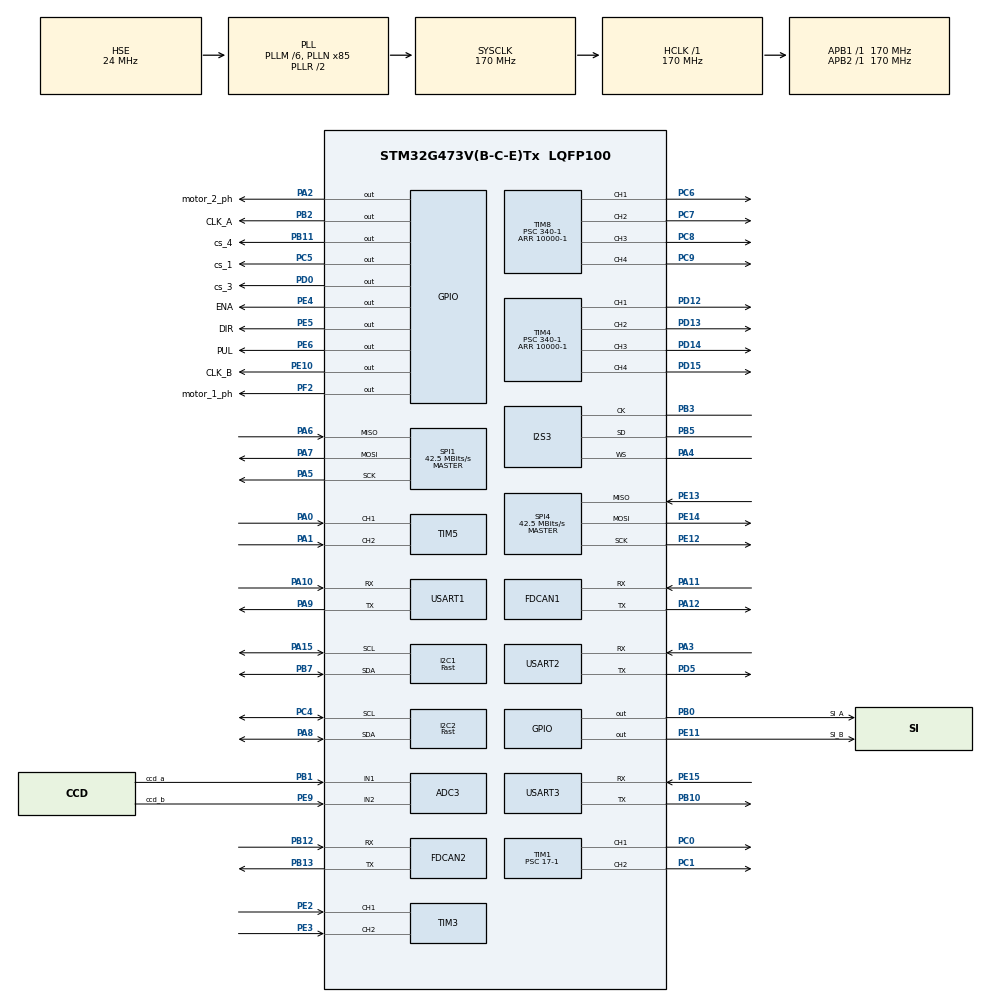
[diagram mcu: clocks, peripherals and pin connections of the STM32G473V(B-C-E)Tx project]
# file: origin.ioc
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ADC3.Channel-1\#ChannelRegularConversion=ADC_CHANNEL_1
ADC3.NbrOfConversionFlag=1
ADC3.OffsetNumber-1\#ChannelRegularConversion=ADC_OFFSET_NONE
ADC3.Rank-1\#ChannelRegularConversion=1
ADC3.SamplingTime-1\#ChannelRegularConversion=ADC_SAMPLETIME_2CYCLES_5
ADC3.master=1
Dma.ADC3.0.Direction=DMA_PERIPH_TO_MEMORY
Dma.ADC3.0.EventEnable=DISABLE
Dma.ADC3.0.Instance=DMA1_Channel1
Dma.ADC3.0.MemDataAlignment=DMA_MDATAALIGN_HALFWORD
Dma.ADC3.0.MemInc=DMA_MINC_ENABLE
Dma.ADC3.0.Mode=DMA_NORMAL
Dma.ADC3.0.PeriphDataAlignment=DMA_PDATAALIGN_HALFWORD
Dma.ADC3.0.PeriphInc=DMA_PINC_DISABLE
Dma.ADC3.0.Polarity=HAL_DMAMUX_REQ_GEN_RISING
Dma.ADC3.0.Priority=DMA_PRIORITY_LOW
Dma.ADC3.0.RequestNumber=1
Dma.ADC3.0.SignalID=NONE
Dma.ADC3.0.SyncEnable=DISABLE
Dma.ADC3.0.SyncPolarity=HAL_DMAMUX_SYNC_NO_EVENT
Dma.ADC3.0.SyncRequestNumber=1
Dma.ADC3.0.SyncSignalID=NONE
Dma.Request0=ADC3
FDCAN1.CalculateBaudRateNominal=3541666
FDCAN1.CalculateTimeBitNominal=282
FDCAN1.CalculateTimeQuantumNominal=94.11764705882354
FDCAN2.CalculateBaudRateNominal=3541666
FDCAN2.CalculateTimeBitNominal=282
FDCAN2.CalculateTimeQuantumNominal=94.11764705882354
I2C1.I2C_Speed_Mode=I2C_Fast
I2C1.Timing=0x40621236
I2C2.I2C_Speed_Mode=I2C_Fast
I2C2.Timing=0x40621236
I2S3.AudioFreq=I2S_AUDIOFREQ_16K
I2S3.ErrorAudioFreq=0.0 %
I2S3.FullDuplexMode=I2S_FULLDUPLEXMODE_DISABLE
I2S3.Instance=SPI$Index
I2S3.RealAudioFreq=16.001 KHz
I2S3.VirtualMode=I2S_MODE_MASTER
Mcu.Family=STM32G4
Mcu.Name=STM32G473V(B-C-E)Tx
Mcu.Package=LQFP100
NVIC.DMA1_Channel1_IRQn=true\:0\:0\:false\:false\:true\:false\:true\:true
NVIC.PriorityGroup=NVIC_PRIORITYGROUP_4
NVIC.TIM2_IRQn=true\:0\:0\:false\:false\:true\:true\:true\:true
NVIC.TIM6_DAC_IRQn=true\:0\:0\:false\:false\:true\:true\:true\:true
PA0.Signal=S_TIM5_CH1
PA1.Signal=S_TIM5_CH2
PA10.Mode=Asynchronous
PA10.Signal=USART1_RX
PA11.Mode=FDCAN_Activate
PA11.Signal=FDCAN1_RX
PA12.Mode=FDCAN_Activate
PA12.Signal=FDCAN1_TX
PA13.Mode=Serial_Wire
PA13.Signal=SYS_JTMS-SWDIO
PA14.Mode=Serial_Wire
PA14.Signal=SYS_JTCK-SWCLK
PA15.Mode=I2C
PA15.Signal=I2C1_SCL
PA2.GPIO_Label=motor_2_ph
PA2.Signal=GPIO_Output
PA3.Mode=Asynchronous
PA3.Signal=USART2_RX
PA4.Mode=Half_Duplex_Master
PA4.Signal=I2S3_WS
PA5.Mode=Full_Duplex_Master
PA5.Signal=SPI1_SCK
PA6.Mode=Full_Duplex_Master
PA6.Signal=SPI1_MISO
PA7.Mode=Full_Duplex_Master
PA7.Signal=SPI1_MOSI
PA8.Mode=I2C
PA8.Signal=I2C2_SDA
PA9.Mode=Asynchronous
PA9.Signal=USART1_TX
PB0.GPIO_Label=SI_A
PB0.GPIO_Speed=GPIO_SPEED_FREQ_VERY_HIGH
PB0.Signal=GPIO_Output
PB1.GPIO_Label=ccd_a
PB1.Mode=IN1-Single-Ended
PB1.Signal=ADC3_IN1
PB10.Mode=Asynchronous
PB10.Signal=USART3_TX
PB11.GPIO_Label=cs_4
PB11.Signal=GPIO_Output
PB12.Mode=FDCAN_Activate
PB12.Signal=FDCAN2_RX
PB13.Mode=FDCAN_Activate
PB13.Signal=FDCAN2_TX
PB2.GPIO_Label=CLK_A
PB2.Signal=GPIO_Output
PB3.Mode=Half_Duplex_Master
PB3.Signal=I2S3_CK
PB5.Mode=Half_Duplex_Master
PB5.Signal=I2S3_SD
PB7.Mode=I2C
PB7.Signal=I2C1_SDA
PC0.Signal=S_TIM1_CH1
PC1.Signal=S_TIM1_CH2
PC10.Signal=UART4_TX
PC11.Signal=UART4_RX
PC12.Signal=UART5_TX
PC4.Mode=I2C
PC4.Signal=I2C2_SCL
PC5.GPIO_Label=cs_1
PC5.Signal=GPIO_Output
PC6.Signal=S_TIM8_CH1
PC7.Signal=S_TIM8_CH2
PC8.Signal=S_TIM8_CH3
PC9.Signal=S_TIM8_CH4
PD0.GPIO_Label=cs_3
PD0.Signal=GPIO_Output
PD10.Signal=ADC5_IN7
PD11.Signal=ADC5_IN8
PD12.Signal=S_TIM4_CH1
PD13.Signal=S_TIM4_CH2
PD14.Signal=S_TIM4_CH3
PD15.Signal=S_TIM4_CH4
PD2.Signal=UART5_RX
PD3.Signal=S_TIM2_CH1
PD4.Signal=S_TIM2_CH2
PD5.Mode=Asynchronous
PD5.Signal=USART2_TX
PD6.Signal=S_TIM2_CH4
PD7.Signal=S_TIM2_CH3
PD8.Signal=ADC5_IN12
PD9.Signal=ADC5_IN13
PE10.GPIO_Label=CLK_B
PE10.Signal=GPIO_Output
PE11.GPIO_Label=SI_B
PE11.GPIO_Speed=GPIO_SPEED_FREQ_VERY_HIGH
PE11.Signal=GPIO_Output
PE12.Mode=Full_Duplex_Master
PE12.Signal=SPI4_SCK
PE13.Mode=Full_Duplex_Master
PE13.Signal=SPI4_MISO
PE14.Mode=Full_Duplex_Master
PE14.Signal=SPI4_MOSI
PE15.Mode=Asynchronous
PE15.Signal=USART3_RX
PE2.Signal=S_TIM3_CH1
PE3.Signal=S_TIM3_CH2
PE4.GPIO_Label=ENA
PE4.Signal=GPIO_Output
PE5.GPIO_Label=DIR
PE5.Signal=GPIO_Output
PE6.GPIO_Label=PUL
PE6.Signal=GPIO_Output
PE9.GPIO_Label=ccd_b
PE9.Mode=IN2-Single-Ended
PE9.Signal=ADC3_IN2
PF0-OSC_IN.Mode=HSE-External-Oscillator
PF0-OSC_IN.Signal=RCC_OSC_IN
PF1-OSC_OUT.Mode=HSE-External-Oscillator
PF1-OSC_OUT.Signal=RCC_OSC_OUT
PF2.GPIO_Label=motor_1_ph
PF2.Signal=GPIO_Output
ProjectManager.HeapSize=0x200
ProjectManager.StackSize=0x400
ProjectManager.TargetToolchain=MDK-ARM V5.32
RCC.ADC12Freq_Value=170000000
RCC.ADC345Freq_Value=170000000
RCC.AHBFreq_Value=170000000
RCC.APB1Freq_Value=170000000
RCC.APB1TimFreq_Value=170000000
RCC.APB2Freq_Value=170000000
RCC.APB2TimFreq_Value=170000000
RCC.CortexFreq_Value=170000000
RCC.EXTERNAL_CLOCK_VALUE=12288000
RCC.HCLKFreq_Value=170000000
RCC.HSE_VALUE=24000000
RCC.HSI48_VALUE=48000000
RCC.HSI_VALUE=16000000
RCC.LSE_VALUE=32768
RCC.PLLM=RCC_PLLM_DIV6
RCC.PLLN=85
RCC.PLLSourceVirtual=RCC_PLLSOURCE_HSE
RCC.SYSCLKFreq_VALUE=170000000
RCC.SYSCLKSource=RCC_SYSCLKSOURCE_PLLCLK
RCC.USBFreq_Value=170000000
RCC.VCOOutputFreq_Value=340000000
SH.S_TIM1_CH1.0=TIM1_CH1,PWM Generation1 CH1
SH.S_TIM1_CH2.0=TIM1_CH2,PWM Generation2 CH2
SH.S_TIM2_CH1.0=TIM2_CH1
SH.S_TIM2_CH2.0=TIM2_CH2
SH.S_TIM2_CH3.0=TIM2_CH3
SH.S_TIM2_CH4.0=TIM2_CH4
SH.S_TIM3_CH1.0=TIM3_CH1,Encoder_Interface
SH.S_TIM3_CH2.0=TIM3_CH2,Encoder_Interface
SH.S_TIM4_CH1.0=TIM4_CH1,PWM Generation1 CH1
SH.S_TIM4_CH2.0=TIM4_CH2,PWM Generation2 CH2
SH.S_TIM4_CH3.0=TIM4_CH3,PWM Generation3 CH3
SH.S_TIM4_CH4.0=TIM4_CH4,PWM Generation4 CH4
SH.S_TIM5_CH1.0=TIM5_CH1,Encoder_Interface
SH.S_TIM5_CH2.0=TIM5_CH2,Encoder_Interface
SH.S_TIM8_CH1.0=TIM8_CH1,PWM Generation1 CH1
SH.S_TIM8_CH2.0=TIM8_CH2,PWM Generation2 CH2
SH.S_TIM8_CH3.0=TIM8_CH3,PWM Generation3 CH3
SH.S_TIM8_CH4.0=TIM8_CH4,PWM Generation4 CH4
SPI1.BaudRatePrescaler=SPI_BAUDRATEPRESCALER_4
SPI1.CalculateBaudRate=42.5 MBits/s
SPI1.Direction=SPI_DIRECTION_2LINES
SPI1.Mode=SPI_MODE_MASTER
SPI1.VirtualType=VM_MASTER
SPI4.BaudRatePrescaler=SPI_BAUDRATEPRESCALER_4
SPI4.CalculateBaudRate=42.5 MBits/s
SPI4.Direction=SPI_DIRECTION_2LINES
SPI4.Mode=SPI_MODE_MASTER
SPI4.VirtualType=VM_MASTER
TIM1.AutoReloadPreload=TIM_AUTORELOAD_PRELOAD_ENABLE
TIM1.Channel-PWM\ Generation1\ CH1=TIM_CHANNEL_1
TIM1.Channel-PWM\ Generation2\ CH2=TIM_CHANNEL_2
TIM1.PeriodNoDither=1000-1
TIM1.Prescaler=17-1
TIM2.AutoReloadPreload=TIM_AUTORELOAD_PRELOAD_ENABLE
TIM2.PeriodNoDither=5000-1
TIM2.Prescaler=170-1
TIM4.Channel-PWM\ Generation1\ CH1=TIM_CHANNEL_1
TIM4.Channel-PWM\ Generation2\ CH2=TIM_CHANNEL_2
TIM4.Channel-PWM\ Generation3\ CH3=TIM_CHANNEL_3
TIM4.Channel-PWM\ Generation4\ CH4=TIM_CHANNEL_4
TIM4.PeriodNoDither=10000-1
TIM4.Prescaler=340-1
TIM6.PeriodNoDither=17000-1
TIM6.Prescaler=50-1
TIM8.Channel-PWM\ Generation1\ CH1=TIM_CHANNEL_1
TIM8.Channel-PWM\ Generation2\ CH2=TIM_CHANNEL_2
TIM8.Channel-PWM\ Generation3\ CH3=TIM_CHANNEL_3
TIM8.Channel-PWM\ Generation4\ CH4=TIM_CHANNEL_4
TIM8.PeriodNoDither=10000-1
TIM8.Prescaler=340-1
USART1.VirtualMode-Asynchronous=VM_ASYNC
USART2.VirtualMode-Asynchronous=VM_ASYNC
USART3.VirtualMode-Asynchronous=VM_ASYNC
VP_SYS_VS_DBSignals.Mode=DisableDeadBatterySignals
VP_TIM1_VS_ClockSourceINT.Mode=Internal
VP_TIM2_VS_ClockSourceINT.Mode=Internal
VP_TIM4_VS_ClockSourceINT.Mode=Internal
VP_TIM6_VS_ClockSourceINT.Mode=Enable_Timer
VP_TIM8_VS_ClockSourceINT.Mode=Internal
board=custom

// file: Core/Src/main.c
/* USER CODE BEGIN Header */
/**
  ******************************************************************************
  * @file           : main.c
  * @brief          : Main program body
  ******************************************************************************
  * @attention
  *
  * Copyright (c) 2025 STMicroelectronics.
  * All rights reserved.
  *
  * This software is licensed under terms that can be found in the LICENSE file
  * in the root directory of this software component.
  * If no LICENSE file comes with this software, it is provided AS-IS.
  *
  ******************************************************************************
  */
/* USER CODE END Header */
#include "main.h"
#include "adc.h"
#include "dma.h"
#include "fdcan.h"
#include "i2c.h"
#include "i2s.h"
#include "spi.h"
#include "tim.h"
#include "usart.h"
#include "gpio.h"

uint8_t  ir_x[8] ;
uint8_t delay_50,delay_flag,Bi_zhang=0,PID_Send,Flash_Send; //延时和调参等变量
/* USER CODE END PV */

void SystemClock_Config(void);
/* USER CODE BEGIN PFP */
void delay_us(uint32_t us)
{
    uint32_t delay = (HAL_RCC_GetHCLKFreq() / 4000000 * us);
    while (delay--)
    {
        __NOP(); //防止编译器优化
    }
}

void HAL_TIM_PeriodElapsedCallback(TIM_HandleTypeDef *htim)
{
	 	if(htim == &htim6)
	{
		Flag_Target=!Flag_Target;
		if(Flag_Target)	RD_TSL();                           		 //===读取线性CCD数据
		Find_CCD_Zhongzhi();			          		 //===提取中线
	}

}
/* USER CODE END PFP */

int main(void)
{

  /* MCU Configuration--------------------------------------------------------*/

  /* Reset of all peripherals, Initializes the Flash interface and the Systick. */
  HAL_Init();

  /* Configure the system clock */
  SystemClock_Config();

  /* Initialize all configured peripherals */
  MX_GPIO_Init();
  MX_DMA_Init();
  MX_TIM1_Init();
  MX_USART1_UART_Init();
  MX_USART3_UART_Init();
  MX_TIM2_Init();
  MX_TIM3_Init();
  MX_TIM5_Init();
  MX_SPI1_Init();
  MX_TIM8_Init();
  MX_TIM4_Init();
  MX_USART2_UART_Init();
  MX_ADC3_Init();
  MX_FDCAN1_Init();
  MX_FDCAN2_Init();
  MX_I2C1_Init();
  MX_I2C2_Init();
  MX_I2S3_Init();
  MX_SPI4_Init();
  MX_TIM6_Init();
  /* USER CODE BEGIN 2 */
    //tim1是给两个普通直流电机的，tim3是编码器1，tim5是编码器2，tim2只用于普通定时（利用中断）
    //tim6是给ccd用，tim8和tim4是用于输出pwm  配置：340-1，10000-1
//  中断开启
    HAL_TIM_Base_Start_IT(&htim2);
    HAL_TIM_Base_Start_IT(&htim6);
//
    HAL_TIM_PWM_Start(&htim1,TIM_CHANNEL_1);
    HAL_TIM_PWM_Start(&htim1,TIM_CHANNEL_2);
    HAL_TIM_Encoder_Start(&htim3,TIM_CHANNEL_ALL);
    HAL_TIM_Encoder_Start(&htim5,TIM_CHANNEL_ALL);
//舵机
    HAL_TIM_PWM_Start(&htim8,TIM_CHANNEL_4);
    HAL_TIM_PWM_Start(&htim8,TIM_CHANNEL_3);
    HAL_TIM_PWM_Start(&htim8,TIM_CHANNEL_2);
    HAL_TIM_PWM_Start(&htim8,TIM_CHANNEL_1);
    HAL_TIM_PWM_Start(&htim4,TIM_CHANNEL_4);
    HAL_TIM_PWM_Start(&htim4,TIM_CHANNEL_3);
    HAL_TIM_PWM_Start(&htim4,TIM_CHANNEL_2);
    HAL_TIM_PWM_Start(&htim4,TIM_CHANNEL_1);
//灰度配置
//  set_adjust_mode(1);
//  HAL_Delay(500);
//
//  set_adjust_mode(0);
//  HAL_Delay(500);

    //tcs230配置
    HAL_UART_Receive_IT(&huart3, &RxData, 1);

    printf("AT+LIGHT+ON\r\n");
    printf("AT+LIGHT+ON\r\n");
    printf("AT+LIGHT+ON\r\n");
    printf("AT+LIGHT+ON\r\n");
    printf("AT+LIGHT+ON\r\n");
    printf("AT+LIGHT+ON\r\n");
    //普通电机配置
    speed_left = 0;
    speed_right = 0;
    speed_all = 0;

    PID_struct_init(&pid_left, POSITION_PID, 950, 950, 50, 0, 0);
    PID_struct_init(&pid_right, POSITION_PID, 950, 950, 50, 0, 0);

    ////灰度循迹配置
    // set_adjust_mode(1);
    // HAL_Delay(500);

    // set_adjust_mode(0);
    // HAL_Delay(500);

		int debug=0;
			char t[128];
			sprintf(t,"%d,%d\r\t",CCD_Zhongzhi,CCD_Yuzhi);

  /* USER CODE END 2 */

  /* Infinite loop */
    while (1)
    {

    /* USER CODE BEGIN 3 */
				sprintf(t,"%d,%d\r\n",CCD_Zhongzhi,CCD_Yuzhi);
        HAL_UART_Transmit(&huart1, t,strlen(t),100);
			 HAL_Delay(100);
    }
  /* USER CODE END 3 */
}

void SystemClock_Config(void)
{
  RCC_OscInitTypeDef RCC_OscInitStruct = {0};
  RCC_ClkInitTypeDef RCC_ClkInitStruct = {0};

  /** Configure the main internal regulator output voltage
  */
  HAL_PWREx_ControlVoltageScaling(PWR_REGULATOR_VOLTAGE_SCALE1_BOOST);

  /** Initializes the RCC Oscillators according to the specified parameters
  * in the RCC_OscInitTypeDef structure.
  */
  RCC_OscInitStruct.OscillatorType = RCC_OSCILLATORTYPE_HSE;
  RCC_OscInitStruct.HSEState = RCC_HSE_ON;
  RCC_OscInitStruct.PLL.PLLState = RCC_PLL_ON;
  RCC_OscInitStruct.PLL.PLLSource = RCC_PLLSOURCE_HSE;
  RCC_OscInitStruct.PLL.PLLM = RCC_PLLM_DIV6;
  RCC_OscInitStruct.PLL.PLLN = 85;
  RCC_OscInitStruct.PLL.PLLP = RCC_PLLP_DIV2;
  RCC_OscInitStruct.PLL.PLLQ = RCC_PLLQ_DIV2;
  RCC_OscInitStruct.PLL.PLLR = RCC_PLLR_DIV2;
  if (HAL_RCC_OscConfig(&RCC_OscInitStruct) != HAL_OK)
  {
    Error_Handler();
  }

  /** Initializes the CPU, AHB and APB buses clocks
  */
  RCC_ClkInitStruct.ClockType = RCC_CLOCKTYPE_HCLK|RCC_CLOCKTYPE_SYSCLK
                              |RCC_CLOCKTYPE_PCLK1|RCC_CLOCKTYPE_PCLK2;
  RCC_ClkInitStruct.SYSCLKSource = RCC_SYSCLKSOURCE_PLLCLK;
  RCC_ClkInitStruct.AHBCLKDivider = RCC_SYSCLK_DIV1;
  RCC_ClkInitStruct.APB1CLKDivider = RCC_HCLK_DIV1;
  RCC_ClkInitStruct.APB2CLKDivider = RCC_HCLK_DIV1;

  if (HAL_RCC_ClockConfig(&RCC_ClkInitStruct, FLASH_LATENCY_4) != HAL_OK)
  {
    Error_Handler();
  }
}

void Error_Handler(void)
{
    __disable_irq();
    while (1)
    {
    }
}
